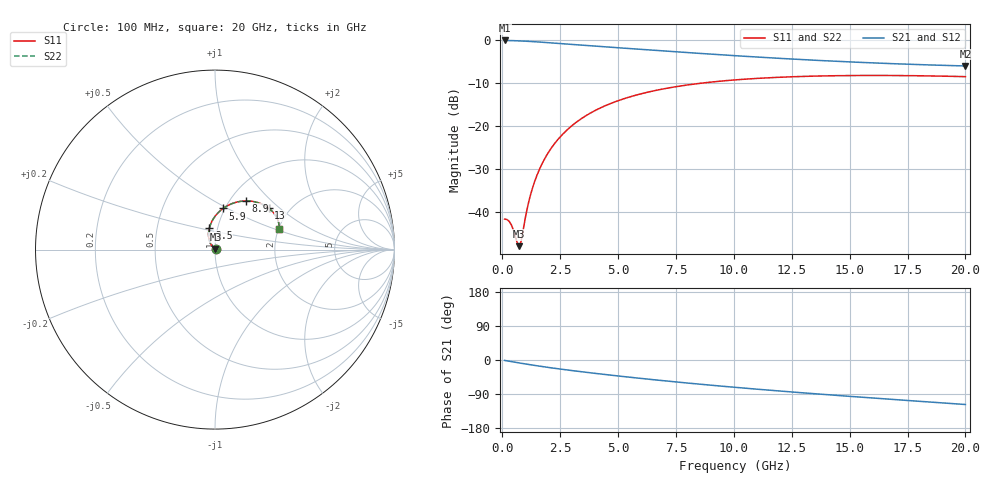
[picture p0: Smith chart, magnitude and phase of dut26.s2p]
! Touchstone file exported from HFSS 2024.1.0
!  File:  C:/UserFiles/LocalFiles/RDL_TSV_Batchsim/temp_RDL_TSV_26_1779401017.aedt
!  Generated:  06:19:56 AM May 22, 2026
!  Design:  RDL_TSV
!  Project:  temp_RDL_TSV_26_1779401017
!  Setup:  Setup1
!  Solution:  Sweep
! Variables:
!  dtsv = 7.91um
!  hbump = 3um
!  htsv = 55.5um
!  ldown = 379.26um
!  lrdl = 125.69um
!  p = 40
!  p1 = 57.33um
!  rhole = 10um
!  subl = 1640.54um
!  t = 450um
!  tdown = 2.76um
!  trdl = 3.94um
!  viad = 10um
!  wdown = 28.61um
!  wrdl = 22.42um
!  xbump = 18um
# GHz S MA R 50.000000
! Terminal data exported
! Port[1] = TM1_1_T1
! Port[2] = TM1_4_T1
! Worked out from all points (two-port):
!   200 points, 100 MHz to 20 GHz, reference 50 ohm
!   highest |S21| = -0.07 dB at 100 MHz (marker M1); lowest = -6.0 dB at 20 GHz (marker M2)
!   |S21| within 3 dB of the highest: start of sweep to 8.488 GHz
!   lowest |S11| = -48.0 dB at 700 MHz (marker M3), VSWR 1.01, Z = 50.2 + j0.331 ohm
!   |S11| at or under -10 dB: start of sweep to 8.637 GHz
!   |S22| runs from -48.0 to -8.2 dB; largest |S21 - S12| = 9.4e-15
!   S11 on the Smith chart (normalised r, x): 100 MHz: 1.02, +0.00; 3.5 GHz: 0.91, +0.23; 5.9 GHz: 0.98, +0.48; 8.9 GHz: 1.18, +0.72; 13 GHz: 1.57, +0.85; 20 GHz: 2.01, +0.55
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0.1  0.00823 4.1  0.9914 -1.1  0.9914 -1.1  0.00823 4.1
! Gamma 0 0 0 0
! Port Impedance 50 0 50 0
0.3  0.007736 9.5  0.9892 -3.3  0.9892 -3.3  0.007738 9.5
0.4  0.006975 12.9  0.9875 -4.3  0.9875 -4.3  0.006978 12.9
0.7  0.003981 56.0  0.9811 -7.4  0.9811 -7.4  0.003983 55.8
0.8  0.004372 87.8  0.9784 -8.5  0.9784 -8.5  0.004366 87.6
1  0.00865 121.2  0.9724 -10.5  0.9724 -10.5  0.008628 121.1
1.2  0.01509 129.2  0.9656 -12.4  0.9656 -12.4  0.01506 129.2
1.4  0.02267 130.5  0.9582 -14.3  0.9582 -14.3  0.02262 130.4
1.7  0.0355 128.4  0.9463 -17.1  0.9463 -17.1  0.03544 128.3
2.1  0.05447 123.3  0.9295 -20.6  0.9295 -20.6  0.05438 123.3
2.5  0.07464 117.7  0.9126 -23.9  0.9126 -23.9  0.07452 117.7
3  0.1005 110.7  0.8917 -27.8  0.8917 -27.8  0.1003 110.7
3.5  0.1261 104.1  0.8716 -31.6  0.8716 -31.6  0.1259 104.1
4.6  0.1792 91.4  0.8297 -39.4  0.8297 -39.4  0.179 91.4
5.9  0.2336 79.0  0.7838 -48.0  0.7838 -48.0  0.2333 78.9
6.8  0.2654 71.6  0.7539 -53.7  0.7539 -53.7  0.265 71.6
8.9  0.3221 57.4  0.69 -65.9  0.69 -65.9  0.3217 57.4
10.1  0.345 50.8  0.6577 -72.4  0.6577 -72.4  0.3445 50.7
13  0.378 37.8  0.5925 -86.8  0.5925 -86.8  0.3774 37.7
13.4  0.3806 36.2  0.5849 -88.6  0.5849 -88.6  0.38 36.2
16.7  0.3875 25.7  0.5338 -103.4  0.5338 -103.4  0.3868 25.6
20  0.3755 18.1  0.5 -117.4  0.5 -117.4  0.3748 18.1
